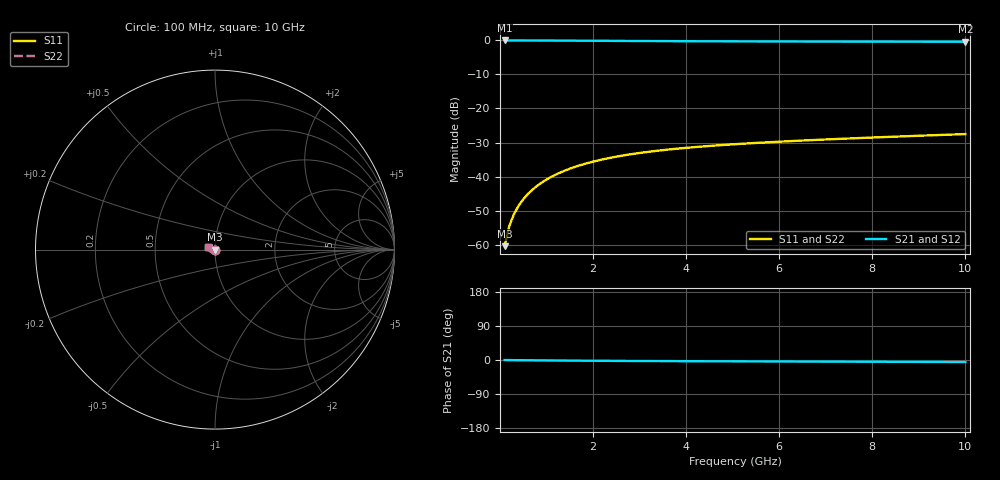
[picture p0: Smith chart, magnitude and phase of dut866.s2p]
! Touchstone file exported from HFSS 2024.1.0
!  File:  C:/UserFiles/LocalFiles/RDL_TSV_Batchsim/temp_TSV1_866_1779882348.aedt
!  Generated:  07:52:06 PM May 27, 2026
!  Design:  TSV1
!  Project:  temp_TSV1_866_1779882348
!  Setup:  Setup1
!  Solution:  Sweep
! Variables:
!  dtsv = 8.26um
!  hbump = 3um
!  htsv = 80um
!  lrdl = 252.1521522um
!  p = 40
!  p1 = 55.06um
!  t = 500um
!  trdl = 3um
!  wrdl = 24.89489489um
# GHz S MA R 50.000000
! Terminal data exported
! Port[1] = TSV22_T1
! Port[2] = TSV22_T2
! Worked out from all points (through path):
!   100 points, 100 MHz to 10 GHz, reference 50 ohm
!   highest |S21| = 0.00 dB at 100 MHz (marker M1); lowest = -0.4 dB at 10 GHz (marker M2)
!   lowest |S11| = -60.5 dB at 100 MHz (marker M3), VSWR 1.00, Z = 50 - j0.0931 ohm
!   |S11| at or under -10 dB: start of sweep to end of sweep
!   |S22| runs from -60.5 to -27.5 dB; largest |S21 - S12| = 1.1e-14
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0.1  0.0009472 -79.2  0.9998 -0.1  0.9998 -0.1  0.0009472 -79.2
! Gamma 0 0 0 0
! Port Impedance 50 0 50 0
0.2  0.001868 -87.5  0.9996 -0.2  0.9996 -0.2  0.001868 -87.5
0.3  0.002794 -91.8  0.9994 -0.4  0.9994 -0.4  0.002794 -91.8
0.4  0.003715 -95.0  0.9992 -0.5  0.9992 -0.5  0.003715 -95.0
0.5  0.004629 -97.8  0.9989 -0.6  0.9989 -0.6  0.004629 -97.8
0.6  0.005534 -100.3  0.9985 -0.7  0.9985 -0.7  0.005534 -100.3
0.7  0.006427 -102.7  0.9981 -0.8  0.9981 -0.8  0.006427 -102.7
0.8  0.007308 -104.9  0.9976 -0.9  0.9976 -0.9  0.007308 -104.9
0.9  0.008175 -107.2  0.9971 -1.0  0.9971 -1.0  0.008175 -107.2
1.1  0.009861 -111.4  0.9959 -1.2  0.9959 -1.2  0.009861 -111.4
1.4  0.01226 -117.5  0.9938 -1.5  0.9938 -1.5  0.01226 -117.5
1.6  0.01376 -121.3  0.9923 -1.7  0.9923 -1.7  0.01376 -121.3
1.8  0.01519 -125.0  0.9907 -1.9  0.9907 -1.9  0.01519 -125.0
2.1  0.01718 -130.3  0.9883 -2.1  0.9883 -2.1  0.01718 -130.3
2.5  0.01957 -136.8  0.9851 -2.4  0.9851 -2.4  0.01957 -136.8
2.9  0.02169 -142.9  0.982 -2.6  0.982 -2.6  0.02169 -142.9
3.4  0.02401 -149.9  0.9785 -2.8  0.9785 -2.8  0.02401 -149.9
4.2  0.02711 -159.7  0.9736 -3.2  0.9736 -3.2  0.02711 -159.7
5.1  0.03001 -169.1  0.9693 -3.5  0.9693 -3.5  0.03001 -169.1
6.7  0.0343 177.1  0.9639 -4.1  0.9639 -4.1  0.0343 177.1
8.4  0.03836 165.6  0.9601 -4.7  0.9601 -4.7  0.03836 165.6
10  0.04206 156.6  0.9576 -5.3  0.9576 -5.3  0.04206 156.6
